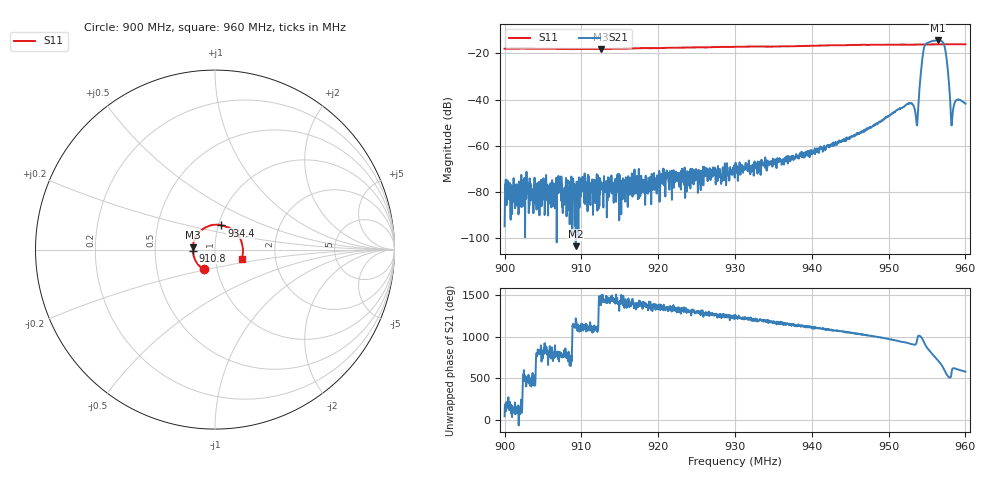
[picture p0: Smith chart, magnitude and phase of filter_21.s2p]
!Agilent Technologies,E5071C,MY46214392,A.11.36
!Date: Thu Feb 26 21:53:04 2026
!Data & Calibration Information:
!Freq	S11:NONE(--)	S21:NONE(--)	S12:NONE(--)	S22:NONE(--)
!PortZ  Port1:50+j0  Port2:50+j0
!Above PortZ is port z conversion or system Z0 setting when saving the data.
!When reading, reference impedance value at option line is always used.
# Hz S dB R 50
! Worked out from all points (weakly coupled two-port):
!   1601 points, 900 MHz to 960 MHz, reference 50 ohm
!   highest |S21| = -14.45 dB at 956.4 MHz (marker M1); lowest = -103.4 dB at 909.3 MHz (marker M2)
!   lowest |S11| = -18.2 dB at 912.5 MHz (marker M3), VSWR 1.28, Z = 39.1 + j1.05 ohm
!   |S11| at or under -10 dB: start of sweep to end of sweep
!   S12 and S22 are empty: the file has one direction only
!   S11 on the Smith chart (normalised r, x): 900 MHz: 0.86, -0.19; 910.8 MHz: 0.78, -0.01; 934.4 MHz: 1.03, +0.28; 960 MHz: 1.34, -0.14
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9e8  -18.03 -119.8  -94.85 44.5  -200.00 0.0  -200.00 0.0
9.092625e8  -18.17 -169.6  -103.41 139.1  -200.00 0.0  -200.00 0.0
9.100125e8  -18.17 -173.5  -75.82 -10.5  -200.00 0.0  -200.00 0.0
9.107625e8  -18.13 -177.3  -79.09 58.8  -200.00 0.0  -200.00 0.0
9.12525e8  -18.19 173.8  -76.32 52.0  -200.00 0.0  -200.00 0.0
9.20025e8  -17.75 137.1  -77.10 -75.3  -200.00 0.0  -200.00 0.0
9.3e8  -17.19 92.9  -70.33 156.8  -200.00 0.0  -200.00 0.0
9.34425e8  -17.13 75.1  -68.17 106.8  -200.00 0.0  -200.00 0.0
9.400125e8  -16.76 55.0  -61.97 31.5  -200.00 0.0  -200.00 0.0
9.50025e8  -16.22 18.0  -46.97 -108.9  -200.00 0.0  -200.00 0.0
9.52725e8  -16.29 8.6  -41.72 -162.0  -200.00 0.0  -200.00 0.0
9.535875e8  -16.22 5.7  -48.15 -164.8  -200.00 0.0  -200.00 0.0
9.5385e8  -16.21 4.8  -43.42 -72.7  -200.00 0.0  -200.00 0.0
9.543375e8  -16.16 3.0  -24.06 -97.5  -200.00 0.0  -200.00 0.0
9.547125e8  -16.14 1.4  -16.55 -165.9  -200.00 0.0  -200.00 0.0
9.555375e8  -16.16 -1.6  -14.86 87.9  -200.00 0.0  -200.00 0.0
9.564e8  -16.12 -4.8  -14.45 -0.6  -200.00 0.0  -200.00 0.0
9.573375e8  -16.09 -8.2  -17.71 -133.9  -200.00 0.0  -200.00 0.0
9.5805e8  -16.06 -11.2  -42.46 151.2  -200.00 0.0  -200.00 0.0
9.58275e8  -16.07 -12.2  -48.77 -111.8  -200.00 0.0  -200.00 0.0
9.589125e8  -16.09 -14.7  -40.10 -109.4  -200.00 0.0  -200.00 0.0
9.6e8  -16.12 -18.9  -41.79 -140.3  -200.00 0.0  -200.00 0.0
